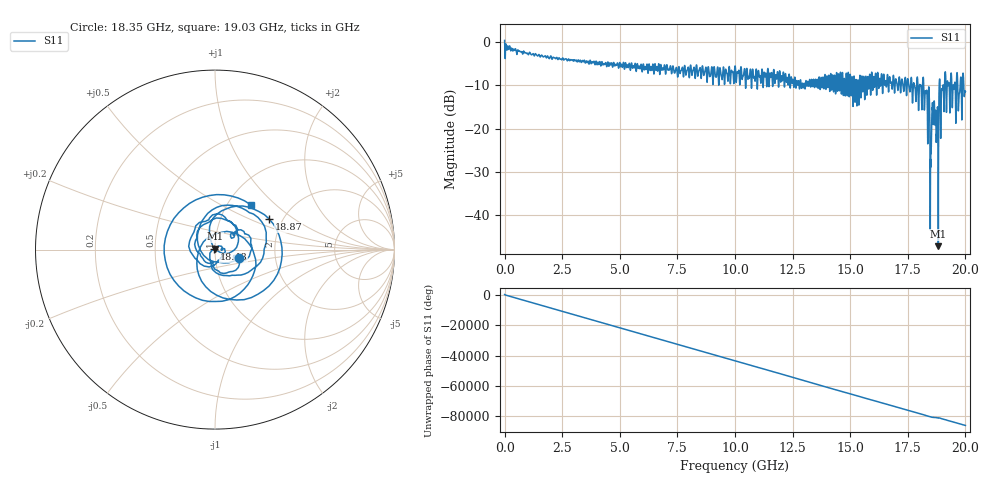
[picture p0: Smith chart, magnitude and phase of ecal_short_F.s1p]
! MS46122B
! 2250307/22442219
! 7/28/2025 1:58:06 PM
! C:\USERS\SPARKY\DOCUMENTS\VNA_DATA\JULY28_2025\3K\ECAL_SHORT_F.S1P
! CHANNEL.1
! TR.MEASUREMENT
! RAW.DATA
# GHZ S RI R 50.0
! FREQ.GHZ  S11RE  S11IM
!; PortSelection: Port_1
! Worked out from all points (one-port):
!   10001 points, 1 MHz to 20 GHz, reference 50 ohm
!   lowest |S11| = -47.2 dB at 18.83 GHz (marker M1), VSWR 1.01, Z = 50 + j0.438 ohm
!   |S11| at or under -10 dB: 18.19 GHz to 18.86 GHz (671.4 MHz wide, 3.62 % of centre); 18.9 GHz to 19.03 GHz (130.1 MHz wide, 0.686 % of centre); 19.67 GHz to 19.77 GHz (105.9 MHz wide, 0.537 % of centre) (the widest 3 of 83)
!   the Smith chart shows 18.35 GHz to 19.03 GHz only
!   S11 on the Smith chart (normalised r, x): 18.35 GHz: 1.30, -0.13; 18.48 GHz: 0.99, +0.00; 18.87 GHz: 1.70, +0.66; 19.03 GHz: 1.28, +0.71
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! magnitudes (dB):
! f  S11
! 1 MHz  0.4
! 2.501 GHz  -3.8
! 5.001 GHz  -4.7
! 7.501 GHz  -7.7
! 10 GHz  -5.5
! 12.5 GHz  -8.9
! 15 GHz  -7.4
! 15.29 GHz  -14.6
! 16.02 GHz  -8.0
! 17.5 GHz  -8.4
! 18.04 GHz  -10.0
! 18.1 GHz  -13.2
! 18.35 GHz  -17.0
! 18.43 GHz  -11.4
! 18.48 GHz  -43.4
! 18.54 GHz  -16.5
! 18.62 GHz  -17.5
! 18.75 GHz  -21.4
! 18.83 GHz  -47.2
! 18.87 GHz  -9.2
! 18.95 GHz  -14.6
! 19.03 GHz  -9.9
! 19.2 GHz  -11.6
! 19.25 GHz  -10.1
! 19.46 GHz  -10.7
! 19.51 GHz  -10.7
! 19.56 GHz  -11.1
! 20 GHz  -11.4
